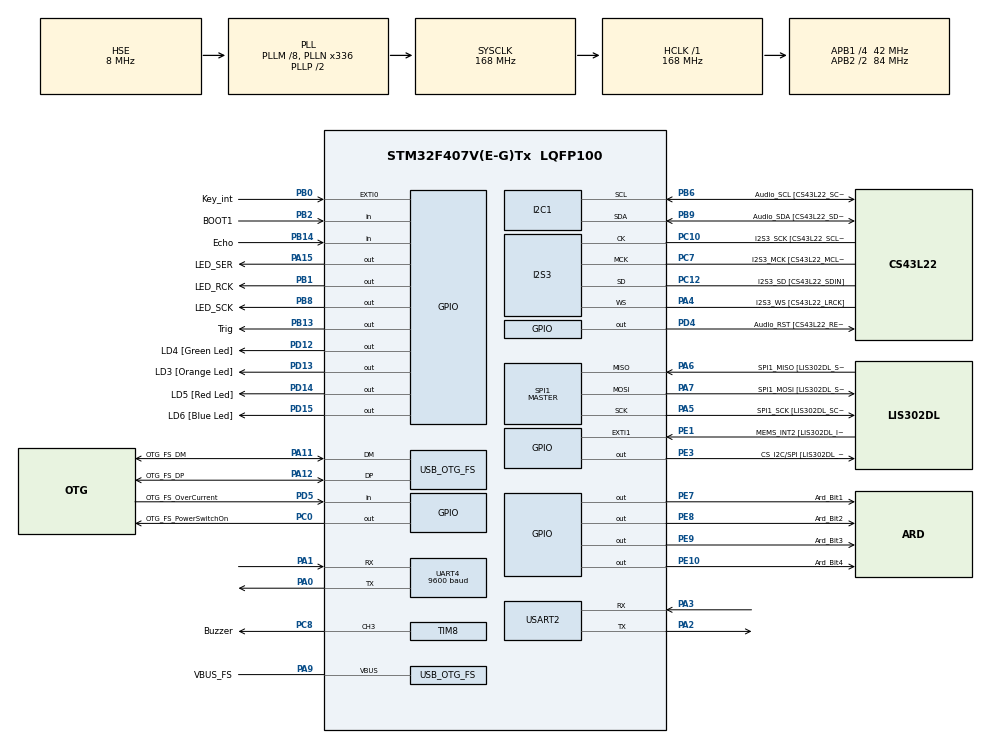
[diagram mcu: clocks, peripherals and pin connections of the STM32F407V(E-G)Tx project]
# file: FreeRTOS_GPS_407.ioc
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FREERTOS.INCLUDE_pcTaskGetTaskName=1
FREERTOS.INCLUDE_xEventGroupSetBitFromISR=1
FREERTOS.INCLUDE_xTaskGetHandle=1
FREERTOS.Tasks01=defaultTask,24,128,StartDefaultTask,Default,NULL,Dynamic,NULL,NULL
FREERTOS.configTOTAL_HEAP_SIZE=64000
FREERTOS.configUSE_NEWLIB_REENTRANT=1
I2S3.AudioFreq-Half_Duplex_Master=I2S_AUDIOFREQ_96K
I2S3.ErrorAudioFreq=-2.34 %
I2S3.ErrorAudioFreq-Half_Duplex_Master=0.8 %
I2S3.FullDuplexMode=I2S_FULLDUPLEXMODE_DISABLE
I2S3.Instance=SPI$Index
I2S3.RealAudioFreq=93.75 KHz
I2S3.RealAudioFreq-Half_Duplex_Master=96.774 KHz
I2S3.VirtualMode=I2S_MODE_MASTER
Mcu.Family=STM32F4
Mcu.Name=STM32F407V(E-G)Tx
Mcu.Package=LQFP100
NVIC.EXTI0_IRQn=true\:5\:0\:false\:false\:true\:true\:true\:true\:true
NVIC.OTG_FS_IRQn=true\:5\:0\:false\:false\:true\:true\:true\:true\:true
NVIC.PriorityGroup=NVIC_PRIORITYGROUP_4
NVIC.TIM1_UP_TIM10_IRQn=true\:0\:0\:false\:false\:true\:false\:false\:true\:true
NVIC.TIM8_BRK_TIM12_IRQn=true\:5\:0\:false\:false\:true\:true\:true\:true\:true
NVIC.TimeBase=TIM1_UP_TIM10_IRQn
NVIC.TimeBaseIP=TIM1
NVIC.UART4_IRQn=true\:5\:0\:false\:false\:true\:true\:true\:true\:true
NVIC.USART2_IRQn=true\:5\:0\:false\:false\:true\:true\:true\:true\:true
PA0-WKUP.Mode=Asynchronous
PA0-WKUP.Signal=UART4_TX
PA1.Mode=Asynchronous
PA1.Signal=UART4_RX
PA10.GPIO_Label=OTG_FS_ID
PA10.GPIO_Mode=GPIO_MODE_AF_PP
PA10.GPIO_PuPd=GPIO_NOPULL
PA10.GPIO_Speed=GPIO_SPEED_FREQ_LOW
PA10.Signal=USB_OTG_FS_ID
PA11.GPIO_Label=OTG_FS_DM
PA11.GPIO_Mode=GPIO_MODE_AF_PP
PA11.GPIO_PuPd=GPIO_NOPULL
PA11.GPIO_Speed=GPIO_SPEED_FREQ_LOW
PA11.Mode=Host_Only
PA11.Signal=USB_OTG_FS_DM
PA12.GPIO_Label=OTG_FS_DP
PA12.GPIO_Mode=GPIO_MODE_AF_PP
PA12.GPIO_PuPd=GPIO_NOPULL
PA12.GPIO_Speed=GPIO_SPEED_FREQ_LOW
PA12.Mode=Host_Only
PA12.Signal=USB_OTG_FS_DP
PA13.GPIO_Label=SWDIO
PA13.Mode=Serial_Wire
PA13.Signal=SYS_JTMS-SWDIO
PA14.GPIO_Label=SWCLK
PA14.Mode=Serial_Wire
PA14.Signal=SYS_JTCK-SWCLK
PA15.GPIO_Label=LED_SER
PA15.Signal=GPIO_Output
PA2.Mode=Asynchronous
PA2.Signal=USART2_TX
PA3.Mode=Asynchronous
PA3.Signal=USART2_RX
PA4.GPIO_Label=I2S3_WS [CS43L22_LRCK]
PA4.GPIO_Mode=GPIO_MODE_AF_PP
PA4.GPIO_PuPd=GPIO_NOPULL
PA4.GPIO_Speed=GPIO_SPEED_FREQ_LOW
PA4.Mode=Half_Duplex_Master
PA4.Signal=I2S3_WS
PA5.GPIO_Label=SPI1_SCK [LIS302DL_SCL/SPC]
PA5.GPIO_Mode=GPIO_MODE_AF_PP
PA5.GPIO_PuPd=GPIO_NOPULL
PA5.GPIO_Speed=GPIO_SPEED_FREQ_LOW
PA5.Mode=Full_Duplex_Master
PA5.Signal=SPI1_SCK
PA6.GPIO_Label=SPI1_MISO [LIS302DL_SDO]
PA6.GPIO_Mode=GPIO_MODE_AF_PP
PA6.GPIO_PuPd=GPIO_NOPULL
PA6.GPIO_Speed=GPIO_SPEED_FREQ_LOW
PA6.Mode=Full_Duplex_Master
PA6.Signal=SPI1_MISO
PA7.GPIO_Label=SPI1_MOSI [LIS302DL_SDA/SDI/SDO]
PA7.GPIO_Mode=GPIO_MODE_AF_PP
PA7.GPIO_PuPd=GPIO_NOPULL
PA7.GPIO_Speed=GPIO_SPEED_FREQ_LOW
PA7.Mode=Full_Duplex_Master
PA7.Signal=SPI1_MOSI
PA9.GPIO_Label=VBUS_FS
PA9.GPIO_Mode=GPIO_MODE_INPUT
PA9.GPIO_PuPd=GPIO_NOPULL
PA9.Mode=Activate_VBUS
PA9.Signal=USB_OTG_FS_VBUS
PB0.GPIO_Label=Key_int
PB0.Signal=GPXTI0
PB1.GPIO_Label=LED_RCK
PB1.Signal=GPIO_Output
PB10.GPIO_Label=CLK_IN [MP45DT02_CLK]
PB10.GPIO_Mode=GPIO_MODE_AF_PP
PB10.GPIO_PuPd=GPIO_NOPULL
PB10.GPIO_Speed=GPIO_SPEED_FREQ_LOW
PB10.Signal=I2S2_CK
PB13.GPIO_Label=Trig
PB13.Signal=GPIO_Output
PB14.GPIO_Label=Echo
PB14.Signal=GPIO_Input
PB2.GPIO_Label=BOOT1
PB2.GPIO_Mode=GPIO_MODE_INPUT
PB2.GPIO_PuPd=GPIO_NOPULL
PB2.Signal=GPIO_Input
PB3.GPIO_Label=SWO
PB3.Signal=SYS_JTDO-SWO
PB6.GPIO_Label=Audio_SCL [CS43L22_SCL]
PB6.GPIO_Mode=GPIO_MODE_AF_OD
PB6.GPIO_Pu=GPIO_PULLUP
PB6.GPIO_PuPd=GPIO_NOPULL
PB6.GPIO_Speed=GPIO_SPEED_FREQ_LOW
PB6.Mode=I2C
PB6.Signal=I2C1_SCL
PB8.GPIO_Label=LED_SCK
PB8.Signal=GPIO_Output
PB9.GPIO_Label=Audio_SDA [CS43L22_SDA]
PB9.GPIO_Mode=GPIO_MODE_AF_OD
PB9.GPIO_Pu=GPIO_PULLUP
PB9.GPIO_PuPd=GPIO_NOPULL
PB9.GPIO_Speed=GPIO_SPEED_FREQ_LOW
PB9.Mode=I2C
PB9.Signal=I2C1_SDA
PC0.GPIO_Label=OTG_FS_PowerSwitchOn
PC0.GPIO_PuPd=GPIO_NOPULL
PC0.GPIO_Speed=GPIO_SPEED_FREQ_LOW
PC0.PinState=GPIO_PIN_SET
PC0.Signal=GPIO_Output
PC10.GPIO_Label=I2S3_SCK [CS43L22_SCLK]
PC10.GPIO_Mode=GPIO_MODE_AF_PP
PC10.GPIO_PuPd=GPIO_NOPULL
PC10.GPIO_Speed=GPIO_SPEED_FREQ_LOW
PC10.Mode=Half_Duplex_Master
PC10.Signal=I2S3_CK
PC12.GPIO_Label=I2S3_SD [CS43L22_SDIN]
PC12.GPIO_Mode=GPIO_MODE_AF_PP
PC12.GPIO_PuPd=GPIO_NOPULL
PC12.GPIO_Speed=GPIO_SPEED_FREQ_LOW
PC12.Mode=Half_Duplex_Master
PC12.Signal=I2S3_SD
PC14-OSC32_IN.GPIO_Label=PC14-OSC32_IN
PC14-OSC32_IN.Mode=LSE-External-Oscillator
PC14-OSC32_IN.Signal=RCC_OSC32_IN
PC15-OSC32_OUT.GPIO_Label=PC15-OSC32_OUT
PC15-OSC32_OUT.Mode=LSE-External-Oscillator
PC15-OSC32_OUT.Signal=RCC_OSC32_OUT
PC3.GPIO_Label=PDM_OUT [MP45DT02_DOUT]
PC3.GPIO_Mode=GPIO_MODE_AF_PP
PC3.GPIO_PuPd=GPIO_NOPULL
PC3.GPIO_Speed=GPIO_SPEED_FREQ_LOW
PC3.Signal=I2S2_SD
PC7.GPIO_Label=I2S3_MCK [CS43L22_MCLK]
PC7.GPIO_Mode=GPIO_MODE_AF_PP
PC7.GPIO_PuPd=GPIO_NOPULL
PC7.GPIO_Speed=GPIO_SPEED_FREQ_LOW
PC7.Mode=Master_Clock_Activated
PC7.Signal=I2S3_MCK
PC8.GPIO_Label=Buzzer
PC8.Signal=S_TIM8_CH3
PD12.GPIO_Label=LD4 [Green Led]
PD12.GPIO_PuPd=GPIO_NOPULL
PD12.GPIO_Speed=GPIO_SPEED_FREQ_LOW
PD12.Signal=GPIO_Output
PD13.GPIO_Label=LD3 [Orange Led]
PD13.GPIO_PuPd=GPIO_NOPULL
PD13.GPIO_Speed=GPIO_SPEED_FREQ_LOW
PD13.Signal=GPIO_Output
PD14.GPIO_Label=LD5 [Red Led]
PD14.GPIO_PuPd=GPIO_NOPULL
PD14.GPIO_Speed=GPIO_SPEED_FREQ_LOW
PD14.Signal=GPIO_Output
PD15.GPIO_Label=LD6 [Blue Led]
PD15.GPIO_PuPd=GPIO_NOPULL
PD15.GPIO_Speed=GPIO_SPEED_FREQ_LOW
PD15.Signal=GPIO_Output
PD4.GPIO_Label=Audio_RST [CS43L22_RESET]
PD4.GPIO_PuPd=GPIO_NOPULL
PD4.GPIO_Speed=GPIO_SPEED_FREQ_LOW
PD4.Signal=GPIO_Output
PD5.GPIO_Label=OTG_FS_OverCurrent
PD5.GPIO_Mode=GPIO_MODE_INPUT
PD5.GPIO_PuPd=GPIO_NOPULL
PD5.Signal=GPIO_Input
PE1.GPIO_Label=MEMS_INT2 [LIS302DL_INT2]
PE1.GPIO_ModeDefaultEXTI=GPIO_MODE_EVT_RISING
PE1.GPIO_PuPd=GPIO_NOPULL
PE1.Signal=GPXTI1
PE10.GPIO_Label=Ard_Bit4
PE10.Signal=GPIO_Output
PE3.GPIO_Label=CS_I2C/SPI [LIS302DL_CS_I2C/SPI]
PE3.GPIO_PuPd=GPIO_NOPULL
PE3.GPIO_Speed=GPIO_SPEED_FREQ_LOW
PE3.Signal=GPIO_Output
PE7.GPIO_Label=Ard_Bit1
PE7.Signal=GPIO_Output
PE8.GPIO_Label=Ard_Bit2
PE8.Signal=GPIO_Output
PE9.GPIO_Label=Ard_Bit3
PE9.Signal=GPIO_Output
PH0-OSC_IN.GPIO_Label=PH0-OSC_IN
PH0-OSC_IN.Mode=HSE-External-Oscillator
PH0-OSC_IN.Signal=RCC_OSC_IN
PH1-OSC_OUT.GPIO_Label=PH1-OSC_OUT
PH1-OSC_OUT.Mode=HSE-External-Oscillator
PH1-OSC_OUT.Signal=RCC_OSC_OUT
ProjectManager.HeapSize=0x200
ProjectManager.StackSize=0x400
ProjectManager.TargetToolchain=STM32CubeIDE
RCC.48MHZClocksFreq_Value=48000000
RCC.AHBFreq_Value=168000000
RCC.APB1CLKDivider=RCC_HCLK_DIV4
RCC.APB1Freq_Value=42000000
RCC.APB1TimFreq_Value=84000000
RCC.APB2CLKDivider=RCC_HCLK_DIV2
RCC.APB2Freq_Value=84000000
RCC.APB2TimFreq_Value=168000000
RCC.CortexFreq_Value=168000000
RCC.HCLKFreq_Value=168000000
RCC.HSE_VALUE=8000000
RCC.HSI_VALUE=16000000
RCC.PLLM=8
RCC.PLLN=336
RCC.PLLQ=7
RCC.SYSCLKFreq_VALUE=168000000
RCC.SYSCLKSource=RCC_SYSCLKSOURCE_PLLCLK
RCC.VCOOutputFreq_Value=336000000
SH.S_TIM8_CH3.0=TIM8_CH3,PWM Generation3 CH3
SPI1.BaudRatePrescaler-Full_Duplex_Master=SPI_BAUDRATEPRESCALER_2
SPI1.CalculateBaudRate-Full_Duplex_Master=42.0 MBits/s
SPI1.Direction=SPI_DIRECTION_2LINES
SPI1.Mode=SPI_MODE_MASTER
SPI1.Mode-Full_Duplex_Master=SPI_MODE_MASTER
SPI1.VirtualType=VM_MASTER
TIM11.Prescaler=167
TIM8.Channel-PWM\ Generation3\ CH3=TIM_CHANNEL_3
TIM8.Period=416
TIM8.Prescaler=167
UART4.BaudRate=9600
UART4.VirtualMode=Asynchronous
USART2.VirtualMode=VM_ASYNC
USB_HOST.BSP.number=1
USB_HOST.USBH_HandleTypeDef-CDC_FS=hUsbHostFS
USB_HOST.VirtualModeFS=Cdc
USB_HOST0.BSP.STBoard=false
USB_HOST0.BSP.api=Unknown
USB_HOST0.BSP.instance=PC0
USB_HOST0.BSP.ip=GPIO
USB_HOST0.BSP.mode=Output
USB_HOST0.BSP.name=Drive_VBUS_FS
USB_HOST0.BSP.solution=PC0
USB_OTG_FS.VirtualMode=Host_Only
USB_OTG_FS.phy_itface=HCD_PHY_EMBEDDED
VP_FREERTOS_VS_CMSIS_V2.Mode=CMSIS_V2
VP_SYS_VS_tim1.Mode=TIM1
VP_TIM11_VS_ClockSourceINT.Mode=Enable_Timer
VP_TIM12_VS_ClockSourceINT.Mode=Internal
VP_TIM8_VS_ClockSourceINT.Mode=Internal
VP_USB_HOST_VS_USB_HOST_CDC_FS.Mode=CDC_FS
board=STM32F407G-DISC1

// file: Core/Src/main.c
/* USER CODE BEGIN Header */
/**
  ******************************************************************************
  * @file           : main.c
  * @brief          : Main program body
  *
  ******************************************************************************
  * @attention Het grootste deel van deze main.c wordt gegenereerd door STM.
  * Eigen code bevindt zich op 'gereserveerde' plekken, wees daar voorzichtig mee.
  * Om deze reden heb ik zo min mogelijk 'eigen code' toegevoegd.
  *
  * <h2><center>&copy; Copyright (c) 2021 STMicroelectronics.
  * All rights reserved.</center></h2>
  *
  * This software component is licensed by ST under Ultimate Liberty license
  * SLA0044, the "License"; You may not use this file except in compliance with
  * the License. You may obtain a copy of the License at:
  *                             www.st.com/SLA0044
  *
  ******************************************************************************
  */
/* USER CODE END Header */
#include "main.h"
#include "cmsis_os.h"
#include "usb_host.h"

/* USER CODE BEGIN Includes */
#include "admin.h"

/* USER CODE END Includes */

I2C_HandleTypeDef hi2c1;

I2S_HandleTypeDef hi2s3;

SPI_HandleTypeDef hspi1;

TIM_HandleTypeDef htim8;
TIM_HandleTypeDef htim11;
TIM_HandleTypeDef htim12;

UART_HandleTypeDef huart4;
UART_HandleTypeDef huart2;

/* Definitions for defaultTask */
osThreadId_t defaultTaskHandle;
const osThreadAttr_t defaultTask_attributes = {
  .name = "defaultTask",
  .stack_size = 128 * 4,
  .priority = (osPriority_t) osPriorityNormal,
};
/* USER CODE BEGIN PV */

unsigned char uart2_char; // keep global!
unsigned char uart4_char; // keep global!

/* USER CODE END PV */

void SystemClock_Config(void);
static void MX_GPIO_Init(void);
static void MX_I2C1_Init(void);
static void MX_I2S3_Init(void);
static void MX_SPI1_Init(void);
static void MX_USART2_UART_Init(void);
static void MX_UART4_Init(void);
static void MX_TIM12_Init(void);
static void MX_TIM11_Init(void);
static void MX_TIM8_Init(void);
void StartDefaultTask(void *argument);

int main(void)
{

  /* MCU Configuration--------------------------------------------------------*/

  /* Reset of all peripherals, Initializes the Flash interface and the Systick. */
  HAL_Init();

  /* Configure the system clock */
  SystemClock_Config();

  /* Initialize all configured peripherals */
  MX_GPIO_Init();
  MX_I2C1_Init();
  MX_I2S3_Init();
  MX_SPI1_Init();
  MX_USART2_UART_Init();
  MX_UART4_Init();
  MX_TIM12_Init();
  MX_TIM11_Init();
  MX_TIM8_Init();
  /* USER CODE BEGIN 2 */

  LCD_init();
  KEYS_init();
  KEYS_initISR(1); // set all lines high once
  LED_init();

  DisplayVersion();
  osDelay(500); // time to read version

  /* USER CODE END 2 */

  /* Init scheduler */
  osKernelInitialize();

  /* Create the thread(s) */
  /* creation of defaultTask */
  defaultTaskHandle = osThreadNew(StartDefaultTask, NULL, &defaultTask_attributes);

  /* Start scheduler */
  osKernelStart();

  /* We should never get here as control is now taken by the scheduler */

  /* Infinite loop */
  while (1)
  {

  }
}

void SystemClock_Config(void)
{
  RCC_OscInitTypeDef RCC_OscInitStruct = {0};
  RCC_ClkInitTypeDef RCC_ClkInitStruct = {0};

  /** Configure the main internal regulator output voltage
  */
  __HAL_RCC_PWR_CLK_ENABLE();
  __HAL_PWR_VOLTAGESCALING_CONFIG(PWR_REGULATOR_VOLTAGE_SCALE1);

  /** Initializes the RCC Oscillators according to the specified parameters
  * in the RCC_OscInitTypeDef structure.
  */
  RCC_OscInitStruct.OscillatorType = RCC_OSCILLATORTYPE_HSE;
  RCC_OscInitStruct.HSEState = RCC_HSE_ON;
  RCC_OscInitStruct.PLL.PLLState = RCC_PLL_ON;
  RCC_OscInitStruct.PLL.PLLSource = RCC_PLLSOURCE_HSE;
  RCC_OscInitStruct.PLL.PLLM = 8;
  RCC_OscInitStruct.PLL.PLLN = 336;
  RCC_OscInitStruct.PLL.PLLP = RCC_PLLP_DIV2;
  RCC_OscInitStruct.PLL.PLLQ = 7;
  if (HAL_RCC_OscConfig(&RCC_OscInitStruct) != HAL_OK)
  {
    Error_Handler();
  }

  /** Initializes the CPU, AHB and APB buses clocks
  */
  RCC_ClkInitStruct.ClockType = RCC_CLOCKTYPE_HCLK|RCC_CLOCKTYPE_SYSCLK
                              |RCC_CLOCKTYPE_PCLK1|RCC_CLOCKTYPE_PCLK2;
  RCC_ClkInitStruct.SYSCLKSource = RCC_SYSCLKSOURCE_PLLCLK;
  RCC_ClkInitStruct.AHBCLKDivider = RCC_SYSCLK_DIV1;
  RCC_ClkInitStruct.APB1CLKDivider = RCC_HCLK_DIV4;
  RCC_ClkInitStruct.APB2CLKDivider = RCC_HCLK_DIV2;

  if (HAL_RCC_ClockConfig(&RCC_ClkInitStruct, FLASH_LATENCY_5) != HAL_OK)
  {
    Error_Handler();
  }
}

static void MX_I2C1_Init(void)
{

  hi2c1.Instance = I2C1;
  hi2c1.Init.ClockSpeed = 100000;
  hi2c1.Init.DutyCycle = I2C_DUTYCYCLE_2;
  hi2c1.Init.OwnAddress1 = 0;
  hi2c1.Init.AddressingMode = I2C_ADDRESSINGMODE_7BIT;
  hi2c1.Init.DualAddressMode = I2C_DUALADDRESS_DISABLE;
  hi2c1.Init.OwnAddress2 = 0;
  hi2c1.Init.GeneralCallMode = I2C_GENERALCALL_DISABLE;
  hi2c1.Init.NoStretchMode = I2C_NOSTRETCH_DISABLE;
  if (HAL_I2C_Init(&hi2c1) != HAL_OK)
  {
    Error_Handler();
  }

}

static void MX_I2S3_Init(void)
{

  hi2s3.Instance = SPI3;
  hi2s3.Init.Mode = I2S_MODE_MASTER_TX;
  hi2s3.Init.Standard = I2S_STANDARD_PHILIPS;
  hi2s3.Init.DataFormat = I2S_DATAFORMAT_16B;
  hi2s3.Init.MCLKOutput = I2S_MCLKOUTPUT_ENABLE;
  hi2s3.Init.AudioFreq = I2S_AUDIOFREQ_96K;
  hi2s3.Init.CPOL = I2S_CPOL_LOW;
  hi2s3.Init.ClockSource = I2S_CLOCK_PLL;
  hi2s3.Init.FullDuplexMode = I2S_FULLDUPLEXMODE_DISABLE;
  if (HAL_I2S_Init(&hi2s3) != HAL_OK)
  {
    Error_Handler();
  }

}

static void MX_SPI1_Init(void)
{

  /* SPI1 parameter configuration*/
  hspi1.Instance = SPI1;
  hspi1.Init.Mode = SPI_MODE_MASTER;
  hspi1.Init.Direction = SPI_DIRECTION_2LINES;
  hspi1.Init.DataSize = SPI_DATASIZE_8BIT;
  hspi1.Init.CLKPolarity = SPI_POLARITY_LOW;
  hspi1.Init.CLKPhase = SPI_PHASE_1EDGE;
  hspi1.Init.NSS = SPI_NSS_SOFT;
  hspi1.Init.BaudRatePrescaler = SPI_BAUDRATEPRESCALER_2;
  hspi1.Init.FirstBit = SPI_FIRSTBIT_MSB;
  hspi1.Init.TIMode = SPI_TIMODE_DISABLE;
  hspi1.Init.CRCCalculation = SPI_CRCCALCULATION_DISABLE;
  hspi1.Init.CRCPolynomial = 10;
  if (HAL_SPI_Init(&hspi1) != HAL_OK)
  {
    Error_Handler();
  }

}

static void MX_TIM8_Init(void)
{

  TIM_ClockConfigTypeDef sClockSourceConfig = {0};
  TIM_MasterConfigTypeDef sMasterConfig = {0};
  TIM_OC_InitTypeDef sConfigOC = {0};
  TIM_BreakDeadTimeConfigTypeDef sBreakDeadTimeConfig = {0};

  htim8.Instance = TIM8;
  htim8.Init.Prescaler = 167;
  htim8.Init.CounterMode = TIM_COUNTERMODE_UP;
  htim8.Init.Period = 416;
  htim8.Init.ClockDivision = TIM_CLOCKDIVISION_DIV1;
  htim8.Init.RepetitionCounter = 0;
  htim8.Init.AutoReloadPreload = TIM_AUTORELOAD_PRELOAD_DISABLE;
  if (HAL_TIM_Base_Init(&htim8) != HAL_OK)
  {
    Error_Handler();
  }
  sClockSourceConfig.ClockSource = TIM_CLOCKSOURCE_INTERNAL;
  if (HAL_TIM_ConfigClockSource(&htim8, &sClockSourceConfig) != HAL_OK)
  {
    Error_Handler();
  }
  if (HAL_TIM_PWM_Init(&htim8) != HAL_OK)
  {
    Error_Handler();
  }
  sMasterConfig.MasterOutputTrigger = TIM_TRGO_RESET;
  sMasterConfig.MasterSlaveMode = TIM_MASTERSLAVEMODE_DISABLE;
  if (HAL_TIMEx_MasterConfigSynchronization(&htim8, &sMasterConfig) != HAL_OK)
  {
    Error_Handler();
  }
  sConfigOC.OCMode = TIM_OCMODE_PWM1;
  sConfigOC.Pulse = 0;
  sConfigOC.OCPolarity = TIM_OCPOLARITY_HIGH;
  sConfigOC.OCNPolarity = TIM_OCNPOLARITY_HIGH;
  sConfigOC.OCFastMode = TIM_OCFAST_DISABLE;
  sConfigOC.OCIdleState = TIM_OCIDLESTATE_RESET;
  sConfigOC.OCNIdleState = TIM_OCNIDLESTATE_RESET;
  if (HAL_TIM_PWM_ConfigChannel(&htim8, &sConfigOC, TIM_CHANNEL_3) != HAL_OK)
  {
    Error_Handler();
  }
  sBreakDeadTimeConfig.OffStateRunMode = TIM_OSSR_DISABLE;
  sBreakDeadTimeConfig.OffStateIDLEMode = TIM_OSSI_DISABLE;
  sBreakDeadTimeConfig.LockLevel = TIM_LOCKLEVEL_OFF;
  sBreakDeadTimeConfig.DeadTime = 0;
  sBreakDeadTimeConfig.BreakState = TIM_BREAK_DISABLE;
  sBreakDeadTimeConfig.BreakPolarity = TIM_BREAKPOLARITY_HIGH;
  sBreakDeadTimeConfig.AutomaticOutput = TIM_AUTOMATICOUTPUT_DISABLE;
  if (HAL_TIMEx_ConfigBreakDeadTime(&htim8, &sBreakDeadTimeConfig) != HAL_OK)
  {
    Error_Handler();
  }
  HAL_TIM_MspPostInit(&htim8);

}

static void MX_TIM11_Init(void)
{

  htim11.Instance = TIM11;
  htim11.Init.Prescaler = 167;
  htim11.Init.CounterMode = TIM_COUNTERMODE_UP;
  htim11.Init.Period = 65535;
  htim11.Init.ClockDivision = TIM_CLOCKDIVISION_DIV1;
  htim11.Init.AutoReloadPreload = TIM_AUTORELOAD_PRELOAD_DISABLE;
  if (HAL_TIM_Base_Init(&htim11) != HAL_OK)
  {
    Error_Handler();
  }

}

static void MX_TIM12_Init(void)
{

  TIM_ClockConfigTypeDef sClockSourceConfig = {0};

  htim12.Instance = TIM12;
  htim12.Init.Prescaler = 0;
  htim12.Init.CounterMode = TIM_COUNTERMODE_UP;
  htim12.Init.Period = 65535;
  htim12.Init.ClockDivision = TIM_CLOCKDIVISION_DIV1;
  htim12.Init.AutoReloadPreload = TIM_AUTORELOAD_PRELOAD_DISABLE;
  if (HAL_TIM_Base_Init(&htim12) != HAL_OK)
  {
    Error_Handler();
  }
  sClockSourceConfig.ClockSource = TIM_CLOCKSOURCE_INTERNAL;
  if (HAL_TIM_ConfigClockSource(&htim12, &sClockSourceConfig) != HAL_OK)
  {
    Error_Handler();
  }

}

static void MX_UART4_Init(void)
{

  huart4.Instance = UART4;
  huart4.Init.BaudRate = 9600;
  huart4.Init.WordLength = UART_WORDLENGTH_8B;
  huart4.Init.StopBits = UART_STOPBITS_1;
  huart4.Init.Parity = UART_PARITY_NONE;
  huart4.Init.Mode = UART_MODE_TX_RX;
  huart4.Init.HwFlowCtl = UART_HWCONTROL_NONE;
  huart4.Init.OverSampling = UART_OVERSAMPLING_16;
  if (HAL_UART_Init(&huart4) != HAL_OK)
  {
    Error_Handler();
  }

}

static void MX_USART2_UART_Init(void)
{

  huart2.Instance = USART2;
  huart2.Init.BaudRate = 115200;
  huart2.Init.WordLength = UART_WORDLENGTH_8B;
  huart2.Init.StopBits = UART_STOPBITS_1;
  huart2.Init.Parity = UART_PARITY_NONE;
  huart2.Init.Mode = UART_MODE_TX_RX;
  huart2.Init.HwFlowCtl = UART_HWCONTROL_NONE;
  huart2.Init.OverSampling = UART_OVERSAMPLING_16;
  if (HAL_UART_Init(&huart2) != HAL_OK)
  {
    Error_Handler();
  }

}

static void MX_GPIO_Init(void)
{
  GPIO_InitTypeDef GPIO_InitStruct = {0};

  /* GPIO Ports Clock Enable */
  __HAL_RCC_GPIOE_CLK_ENABLE();
  __HAL_RCC_GPIOC_CLK_ENABLE();
  __HAL_RCC_GPIOH_CLK_ENABLE();
  __HAL_RCC_GPIOA_CLK_ENABLE();
  __HAL_RCC_GPIOB_CLK_ENABLE();
  __HAL_RCC_GPIOD_CLK_ENABLE();

  /*Configure GPIO pin Output Level */
  HAL_GPIO_WritePin(GPIOE, CS_I2C_SPI_Pin|Ard_Bit1_Pin|Ard_Bit2_Pin|Ard_Bit3_Pin
                          |Ard_Bit4_Pin, GPIO_PIN_RESET);

  /*Configure GPIO pin Output Level */
  HAL_GPIO_WritePin(OTG_FS_PowerSwitchOn_GPIO_Port, OTG_FS_PowerSwitchOn_Pin, GPIO_PIN_SET);

  /*Configure GPIO pin Output Level */
  HAL_GPIO_WritePin(GPIOB, LED_RCK_Pin|Trig_Pin|LED_SCK_Pin, GPIO_PIN_RESET);

  /*Configure GPIO pin Output Level */
  HAL_GPIO_WritePin(GPIOD, LD4_Pin|LD3_Pin|LD5_Pin|LD6_Pin
                          |Audio_RST_Pin, GPIO_PIN_RESET);

  /*Configure GPIO pin Output Level */
  HAL_GPIO_WritePin(LED_SER_GPIO_Port, LED_SER_Pin, GPIO_PIN_RESET);

  /*Configure GPIO pins : CS_I2C_SPI_Pin Ard_Bit1_Pin Ard_Bit2_Pin Ard_Bit3_Pin
                           Ard_Bit4_Pin */
  GPIO_InitStruct.Pin = CS_I2C_SPI_Pin|Ard_Bit1_Pin|Ard_Bit2_Pin|Ard_Bit3_Pin
                          |Ard_Bit4_Pin;
  GPIO_InitStruct.Mode = GPIO_MODE_OUTPUT_PP;
  GPIO_InitStruct.Pull = GPIO_NOPULL;
  GPIO_InitStruct.Speed = GPIO_SPEED_FREQ_LOW;
  HAL_GPIO_Init(GPIOE, &GPIO_InitStruct);

  /*Configure GPIO pin : OTG_FS_PowerSwitchOn_Pin */
  GPIO_InitStruct.Pin = OTG_FS_PowerSwitchOn_Pin;
  GPIO_InitStruct.Mode = GPIO_MODE_OUTPUT_PP;
  GPIO_InitStruct.Pull = GPIO_NOPULL;
  GPIO_InitStruct.Speed = GPIO_SPEED_FREQ_LOW;
  HAL_GPIO_Init(OTG_FS_PowerSwitchOn_GPIO_Port, &GPIO_InitStruct);

  /*Configure GPIO pin : PDM_OUT_Pin */
  GPIO_InitStruct.Pin = PDM_OUT_Pin;
  GPIO_InitStruct.Mode = GPIO_MODE_AF_PP;
  GPIO_InitStruct.Pull = GPIO_NOPULL;
  GPIO_InitStruct.Speed = GPIO_SPEED_FREQ_LOW;
  GPIO_InitStruct.Alternate = GPIO_AF5_SPI2;
  HAL_GPIO_Init(PDM_OUT_GPIO_Port, &GPIO_InitStruct);

  /*Configure GPIO pin : Key_int_Pin */
  GPIO_InitStruct.Pin = Key_int_Pin;
  GPIO_InitStruct.Mode = GPIO_MODE_IT_RISING;
  GPIO_InitStruct.Pull = GPIO_NOPULL;
  HAL_GPIO_Init(Key_int_GPIO_Port, &GPIO_InitStruct);

  /*Configure GPIO pins : LED_RCK_Pin Trig_Pin LED_SCK_Pin */
  GPIO_InitStruct.Pin = LED_RCK_Pin|Trig_Pin|LED_SCK_Pin;
  GPIO_InitStruct.Mode = GPIO_MODE_OUTPUT_PP;
  GPIO_InitStruct.Pull = GPIO_NOPULL;
  GPIO_InitStruct.Speed = GPIO_SPEED_FREQ_LOW;
  HAL_GPIO_Init(GPIOB, &GPIO_InitStruct);

  /*Configure GPIO pins : BOOT1_Pin Echo_Pin */
  GPIO_InitStruct.Pin = BOOT1_Pin|Echo_Pin;
  GPIO_InitStruct.Mode = GPIO_MODE_INPUT;
  GPIO_InitStruct.Pull = GPIO_NOPULL;
  HAL_GPIO_Init(GPIOB, &GPIO_InitStruct);

  /*Configure GPIO pin : CLK_IN_Pin */
  GPIO_InitStruct.Pin = CLK_IN_Pin;
  GPIO_InitStruct.Mode = GPIO_MODE_AF_PP;
  GPIO_InitStruct.Pull = GPIO_NOPULL;
  GPIO_InitStruct.Speed = GPIO_SPEED_FREQ_LOW;
  GPIO_InitStruct.Alternate = GPIO_AF5_SPI2;
  HAL_GPIO_Init(CLK_IN_GPIO_Port, &GPIO_InitStruct);

  /*Configure GPIO pins : LD4_Pin LD3_Pin LD5_Pin LD6_Pin
                           Audio_RST_Pin */
  GPIO_InitStruct.Pin = LD4_Pin|LD3_Pin|LD5_Pin|LD6_Pin
                          |Audio_RST_Pin;
  GPIO_InitStruct.Mode = GPIO_MODE_OUTPUT_PP;
  GPIO_InitStruct.Pull = GPIO_NOPULL;
  GPIO_InitStruct.Speed = GPIO_SPEED_FREQ_LOW;
  HAL_GPIO_Init(GPIOD, &GPIO_InitStruct);

  /*Configure GPIO pin : LED_SER_Pin */
  GPIO_InitStruct.Pin = LED_SER_Pin;
  GPIO_InitStruct.Mode = GPIO_MODE_OUTPUT_PP;
  GPIO_InitStruct.Pull = GPIO_NOPULL;
  GPIO_InitStruct.Speed = GPIO_SPEED_FREQ_LOW;
  HAL_GPIO_Init(LED_SER_GPIO_Port, &GPIO_InitStruct);

  /*Configure GPIO pin : OTG_FS_OverCurrent_Pin */
  GPIO_InitStruct.Pin = OTG_FS_OverCurrent_Pin;
  GPIO_InitStruct.Mode = GPIO_MODE_INPUT;
  GPIO_InitStruct.Pull = GPIO_NOPULL;
  HAL_GPIO_Init(OTG_FS_OverCurrent_GPIO_Port, &GPIO_InitStruct);

  /*Configure GPIO pin : MEMS_INT2_Pin */
  GPIO_InitStruct.Pin = MEMS_INT2_Pin;
  GPIO_InitStruct.Mode = GPIO_MODE_EVT_RISING;
  GPIO_InitStruct.Pull = GPIO_NOPULL;
  HAL_GPIO_Init(MEMS_INT2_GPIO_Port, &GPIO_InitStruct);

  /* EXTI interrupt init*/
  HAL_NVIC_SetPriority(EXTI0_IRQn, 5, 0);
  HAL_NVIC_EnableIRQ(EXTI0_IRQn);

}

/* USER CODE BEGIN 4 */

/* only used in UART interrupt mode. Now configured as local UART echo*/

/**
  * @brief  ISR die UART-characters op een Queue zet. De core-functie wordt gegenereerd.
  * <p>Demonstreert: xQueueSendFromISR(); portYIELD_FROM_ISR();</p>
  * @param huart
  * @return void.
  */
void HAL_UART_RxCpltCallback(UART_HandleTypeDef *huart)
{
	// receive terminal user commands
	if (huart->Instance == USART2)
	{
		/// Receive one byte in interrupt mode
		HAL_UART_Receive_IT(&huart2, &uart2_char, 1);

		/// Zet de byte op de UART_queue
		xQueueSendFromISR(hUART_Queue, &uart2_char, NULL);
	}

	// receive GPS-data
	else if (huart->Instance == UART4)
	{
		/// Receive one byte in interrupt mode
		HAL_UART_Receive_IT(&huart4, &uart4_char, 1);

		/// Zet de byte op de GPS_queue
		xQueueSendFromISR(hGPS_Queue, &uart4_char, NULL);
	}

}

/* USER CODE END 4 */

void StartDefaultTask(void *argument)
{
  /* init code for USB_HOST */
  MX_USB_HOST_Init();
  /* USER CODE BEGIN 5 */
  //unsigned char byte1, byte2;

  CreateHandles();
  CreateTasks();

  // start the interrupt handlers after all handles are created
  HAL_UART_Receive_IT(&huart2, &uart2_char, 1); //start the UART2 interrupt engine for reading
  HAL_UART_Receive_IT(&huart4, &uart2_char, 1); //start the UART4 interrupt engine GPS

  /* Infinite loop */
  for(;;)
  {
    osDelay(1);
    vTaskDelete(defaultTaskHandle); // remove this default task
  }
  /* USER CODE END 5 */
}

void HAL_TIM_PeriodElapsedCallback(TIM_HandleTypeDef *htim)
{
  if (htim->Instance == TIM1) {
    HAL_IncTick();
  }
}

void Error_Handler(void)
{
  __disable_irq();
  while (1)
  {
  }
}

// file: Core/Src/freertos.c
/* USER CODE BEGIN Header */
/**
  ******************************************************************************
  * File Name          : freertos.c
  * Description        : Code for freertos applications
  ******************************************************************************
  * @attention
  *
  * Copyright (c) 2021 STMicroelectronics.
  * All rights reserved.
  *
  * This software is licensed under terms that can be found in the LICENSE file
  * in the root directory of this software component.
  * If no LICENSE file comes with this software, it is provided AS-IS.
  *
  ******************************************************************************
  */
/* USER CODE END Header */

#include "FreeRTOS.h"
#include "task.h"
#include "main.h"

/* USER CODE BEGIN FunctionPrototypes */
void configureTimerForRunTimeStats(void);
unsigned long getRunTimeCounterValue(void);
/* USER CODE END FunctionPrototypes */

/* USER CODE BEGIN Application */
__weak void configureTimerForRunTimeStats(void)
{
    CoreDebug->DEMCR |= CoreDebug_DEMCR_TRCENA_Msk;
    DWT->CTRL |= 1;
    DWT->CYCCNT = 0;
}

__weak unsigned long getRunTimeCounterValue(void)
{
    return DWT->CYCCNT;
}
/* USER CODE END Application */
